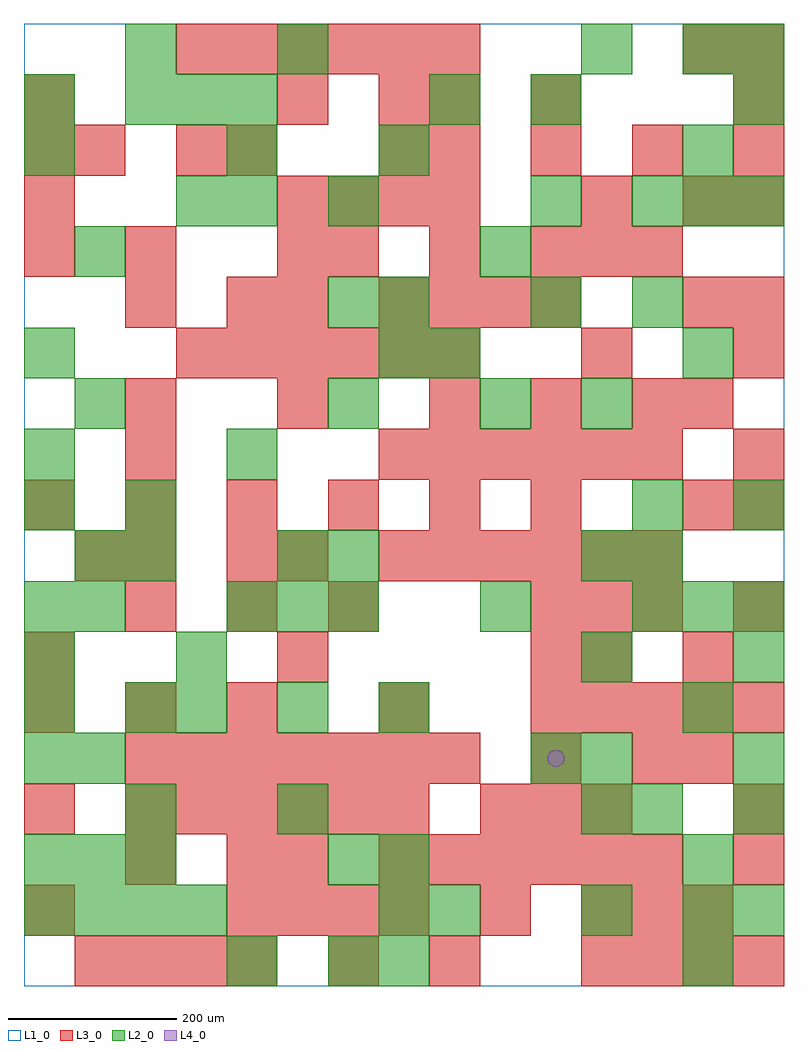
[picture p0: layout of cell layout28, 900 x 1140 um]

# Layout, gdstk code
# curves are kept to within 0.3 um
import gdstk
lib = gdstk.Library(unit=1e-6, precision=1e-09)
def R(c, l, rs):  # rectangles x0, y0, x1, y1
    for r in rs: c.add(gdstk.rectangle(r[:2], r[2:], *l))
def A(c, l, x, y, w, h, nx, ny, dx, dy):  # array of equal rectangles
    R(c, l, [(x+i*dx, y+j*dy, x+i*dx+w, y+j*dy+h) for i in range(nx) for j in range(ny)])
def P(c, l, *ps):  # polygons
    for p in ps: c.add(gdstk.Polygon(p, *l))
L1_0 = (1, 0)
L2_0 = (2, 0)
L3_0 = (3, 0)
L4_0 = (4, 0)

layout28 = lib.new_cell('layout28')
R(layout28, L1_0, [(0,0,900,1140)])
A(layout28, L2_0, 420, 0, 60, 60, 1, 3, 0, 60)
A(layout28, L2_0, 780, 0, 60, 60, 1, 3, 0, 60)
A(layout28, L2_0, 0, 60, 60, 60, 4, 1, 60, 0)
A(layout28, L2_0, 0, 120, 60, 60, 3, 1, 60, 0)
A(layout28, L2_0, 0, 240, 60, 60, 1, 4, 0, 60)
A(layout28, L2_0, 660, 240, 60, 60, 1, 3, 0, 120)
A(layout28, L2_0, 180, 300, 60, 60, 3, 1, 120, 0)
A(layout28, L2_0, 240, 420, 60, 60, 3, 1, 60, 0)
A(layout28, L2_0, 720, 420, 60, 60, 3, 2, 60, 480)
A(layout28, L2_0, 60, 480, 60, 60, 1, 3, 0, 180)
A(layout28, L2_0, 360, 660, 60, 60, 1, 3, 0, 120)
A(layout28, L2_0, 600, 780, 60, 60, 1, 3, 0, 120)
A(layout28, L2_0, 120, 1020, 60, 60, 3, 1, 60, 0)
R(layout28, L2_0, [(240,0,300,60), (360,0,420,60), (480,60,540,120), (660,60,720,120), (840,60,900,120), (360,120,420,180), (120,180,180,240), (300,180,360,240), (660,180,720,240), (720,180,780,240), (840,180,900,240), (60,240,120,300), (600,240,660,300), (840,240,900,300), (120,300,180,360), (780,300,840,360), (180,360,240,420), (840,360,900,420), (60,420,120,480), (540,420,600,480), (120,480,180,540), (300,480,360,540), (360,480,420,540), (720,480,780,540), (0,540,60,600), (120,540,180,600), (720,540,780,600), (840,540,900,600), (0,600,60,660), (240,600,300,660), (540,660,600,720), (660,660,720,720), (0,720,60,780), (420,720,480,780), (480,720,540,780), (780,720,840,780), (420,780,480,840), (720,780,780,840), (540,840,600,900), (180,900,240,960), (240,900,300,960), (0,960,60,1020), (240,960,300,1020), (420,960,480,1020), (780,960,840,1020), (0,1020,60,1080), (480,1020,540,1080), (840,1020,900,1080), (120,1080,180,1140), (300,1080,360,1140), (660,1080,720,1140), (780,1080,840,1140), (840,1080,900,1140)])
A(layout28, L3_0, 60, 0, 60, 60, 4, 1, 60, 0)
A(layout28, L3_0, 660, 0, 60, 60, 4, 1, 60, 0)
A(layout28, L3_0, 240, 60, 60, 60, 4, 1, 60, 0)
A(layout28, L3_0, 660, 60, 60, 60, 3, 1, 60, 0)
A(layout28, L3_0, 420, 120, 60, 60, 6, 2, 60, 360)
A(layout28, L3_0, 120, 180, 60, 60, 6, 1, 60, 0)
A(layout28, L3_0, 540, 180, 60, 60, 3, 1, 60, 0)
A(layout28, L3_0, 120, 240, 60, 60, 7, 1, 60, 0)
A(layout28, L3_0, 0, 300, 60, 60, 3, 1, 120, 0)
A(layout28, L3_0, 600, 300, 60, 60, 5, 1, 60, 0)
A(layout28, L3_0, 0, 360, 60, 60, 3, 1, 300, 0)
A(layout28, L3_0, 120, 420, 60, 60, 3, 1, 120, 0)
A(layout28, L3_0, 600, 420, 60, 60, 3, 1, 60, 0)
A(layout28, L3_0, 0, 540, 60, 60, 6, 1, 120, 0)
A(layout28, L3_0, 780, 540, 60, 60, 1, 4, 0, 120)
A(layout28, L3_0, 420, 600, 60, 60, 6, 1, 60, 0)
A(layout28, L3_0, 120, 660, 60, 60, 3, 1, 180, 0)
A(layout28, L3_0, 180, 720, 60, 60, 6, 2, 60, 360)
A(layout28, L3_0, 420, 780, 60, 60, 4, 1, 60, 0)
A(layout28, L3_0, 840, 780, 60, 60, 1, 3, 0, 120)
A(layout28, L3_0, 0, 840, 60, 60, 1, 4, 0, 60)
A(layout28, L3_0, 360, 840, 60, 60, 3, 1, 120, 0)
A(layout28, L3_0, 300, 900, 60, 60, 4, 1, 60, 0)
A(layout28, L3_0, 480, 960, 60, 60, 4, 1, 120, 0)
R(layout28, L3_0, [(360,0,420,60), (480,0,540,60), (0,60,60,120), (540,60,600,120), (120,120,180,180), (240,120,300,180), (300,120,360,180), (840,120,900,180), (0,180,60,240), (840,180,900,240), (600,240,660,300), (720,240,780,300), (780,240,840,300), (420,300,480,360), (660,360,720,420), (780,360,840,420), (840,420,900,480), (60,480,120,540), (120,480,180,540), (240,480,300,540), (300,480,360,540), (840,540,900,600), (120,600,180,660), (840,600,900,660), (600,660,660,720), (720,660,780,720), (660,720,720,780), (840,720,900,780), (120,780,180,840), (240,780,300,840), (300,780,360,840), (120,840,180,900), (300,840,360,900), (660,840,720,900), (720,840,780,900), (660,900,720,960), (60,960,120,1020), (180,960,240,1020), (240,960,300,1020), (420,960,480,1020), (300,1020,360,1080), (420,1020,480,1080), (480,1020,540,1080), (600,1020,660,1080), (780,1080,840,1140), (840,1080,900,1140)])
P(layout28, L4_0, [(640,270),(639.239,273.827),(637.071,277.071),(633.827,279.239),(630,280),(626.173,279.239),(622.929,277.071),(620.761,273.827),(620,270),(620.761,266.173),(622.929,262.929),(626.173,260.761),(630,260),(633.827,260.761),(637.071,262.929),(639.239,266.173)])

lib.write_gds('layout28.gds')
